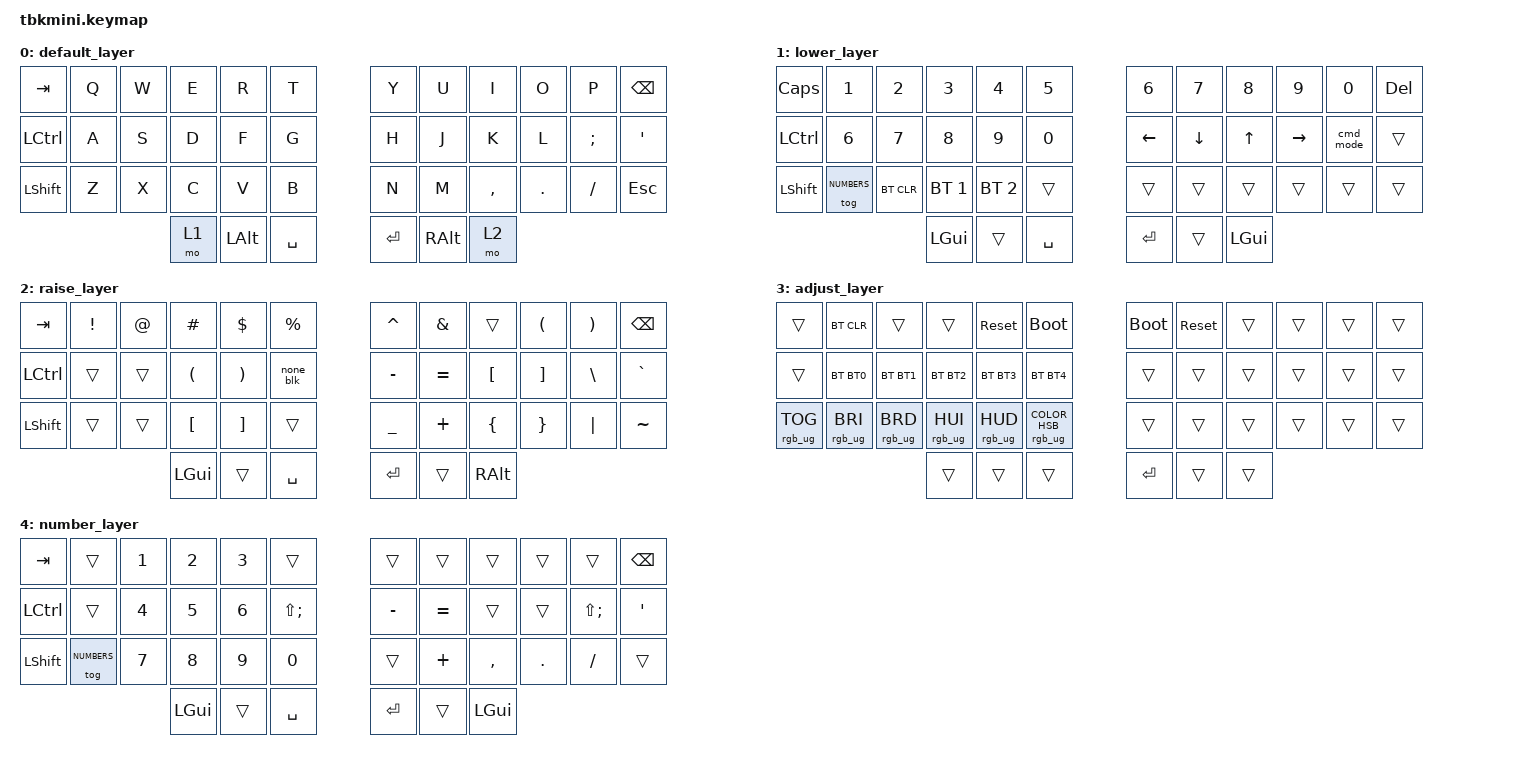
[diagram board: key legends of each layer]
/*
 * Copyright (c) 2020 The ZMK Contributors
 *
 * SPDX-License-Identifier: MIT
 */

#include <behaviors.dtsi>
#include <dt-bindings/zmk/bt.h>
#include <dt-bindings/zmk/keys.h>
#include <dt-bindings/zmk/rgb.h>

#define LOWER 1
#define RAISE 2
#define ADJUST 3
#define NUMBERS 4
#define BT0 BT_SEL 0
#define BT1 BT_SEL 1
#define BT2 BT_SEL 2
#define BT3 BT_SEL 3
#define BT4 BT_SEL 4

&mt { retro-tap; };

&sk {
    //release-after-ms = <2000>;

    quick-release;

    // /delete-property/ ignore-modifiers;
};

/ {
    conditional_layers {
        compatible = "zmk,conditional-layers";

        tri_layer {
            if-layers = <LOWER RAISE>;
            then-layer = <ADJUST>;
        };
    };

    combos {
        compatible = "zmk,combos";

        combo_caps {
            timeout-ms = <50>;
            key-positions = <24 35>;
            bindings = <&kp CAPSLOCK>;
        };

        combo_esc {
            timeout-ms = <50>;
            key-positions = <19 20>;
            bindings = <&kp ESC>;
        };
    };

    macros {
        none_blk: none_blk {
            label = "NON_BLOCKING";
            compatible = "zmk,behavior-macro";
            #binding-cells = <0>;
            bindings = <&macro_tap>, <&kp LS(COMMA) &kp EQUAL>;
        };

        cmd_mode: cmd_mode {
            label = "VIM_CMD_MODE";
            compatible = "zmk,behavior-macro";
            #binding-cells = <0>;
            bindings = <&macro_tap>, <&kp ESC &kp LS(SEMI)>;
        };
    };

    keymap {
        compatible = "zmk,keymap";

        default_layer {
            // -----------------------------------------------------------------------------------------
            // |  TAB |  Q  |  W  |  E  |  R  |  T  |   |  Y  |  U   |  I  |  O  |  P  | BKSP |
            // | CTRL |  A  |  S  |  D  |  F  |  G  |   |  H  |  J   |  K  |  L  |  ;  |  '   |
            // | SHFT |  Z  |  X  |  C  |  V  |  B  |   |  N  |  M   |  ,  |  .  |  /  | ESC  |
            //                    | GUI | LWR | SPC |   | ENT | RSE  | ALT |

            bindings = <
&kp TAB         &kp Q  &kp W  &kp E  &kp R         &kp T      &kp Y    &kp U          &kp I      &kp O    &kp P     &kp BSPC
&kp LCTRL       &kp A  &kp S  &kp D  &kp F         &kp G      &kp H    &kp J          &kp K      &kp L    &kp SEMI  &kp SQT
&kp LEFT_SHIFT  &kp Z  &kp X  &kp C  &kp V         &kp B      &kp N    &kp M          &kp COMMA  &kp DOT  &kp FSLH  &kp ESC
                              &mo 1  &kp LEFT_ALT  &kp SPACE  &kp RET  &kp RIGHT_ALT  &mo 2
            >;
        };

        lower_layer {
            // -----------------------------------------------------------------------------------------
            // |  TAB |  1  |  2  |  3  |  4  |  5  |   |  6  |  7  |  8  |  9  |  0  | BKSP |
            // | BTCLR| BT1 | BT2 | BT3 | BT4 | BT5 |   | LFT | DWN |  UP | RGT |     |      |
            // | SHFT |     |     |     |     |     |   |     |     |     |     |     |      |
            //                    | GUI |     | SPC |   | ENT |     | ALT |

            bindings = <
&kp CAPSLOCK  &kp N1        &kp N2      &kp N3        &kp N4        &kp N5     &kp N6    &kp N7    &kp N8    &kp N9     &kp N0     &kp DEL
&kp LCTRL     &kp N6        &kp N7      &kp N8        &kp N9        &kp N0     &kp LEFT  &kp DOWN  &kp UP    &kp RIGHT  &cmd_mode  &trans
&kp LSHFT     &tog NUMBERS  &bt BT_CLR  &bt BT_SEL 1  &bt BT_SEL 2  &trans     &trans    &trans    &trans    &trans     &trans     &trans
                                        &kp LGUI      &trans        &kp SPACE  &kp RET   &trans    &kp LGUI
            >;
        };

        raise_layer {
            // -----------------------------------------------------------------------------------------
            // |  TAB |  !  |  @  |  #  |  $  |  %  |   |  ^  |  &  |  *  |  (  |  )  | DEL  |
            // | CTRL |     |     |     |     |     |   |  -  |  =  |  [  |  ]  |  \  |  `   |
            // | SHFT |     |     |     |     |     |   |  _  |  +  |  {  |  }  | "|" |  ~   |
            //                    | GUI |     | SPC |   | ENT |     | ALT |

            bindings = <
&kp TAB    &kp EXCL  &kp AT  &kp HASH  &kp DLLR  &kp PRCNT  &kp CARET  &kp AMPS   &trans    &kp LPAR  &kp RPAR  &kp BSPC
&kp LCTRL  &trans    &trans  &kp LPAR  &kp RPAR  &none_blk  &kp MINUS  &kp EQUAL  &kp LBKT  &kp RBKT  &kp BSLH  &kp GRAVE
&kp LSHFT  &trans    &trans  &kp LBKT  &kp RBKT  &trans     &kp UNDER  &kp PLUS   &kp LBRC  &kp RBRC  &kp PIPE  &kp TILDE
                             &kp LGUI  &trans    &kp SPACE  &kp RET    &trans     &kp RALT
            >;
        };

        adjust_layer {
            bindings = <
&trans           &bt BT_CLR       &trans           &trans           &sys_reset       &bootloader                        &bootloader  &sys_reset  &trans  &trans  &trans  &trans
&trans           &bt BT0          &bt BT1          &bt BT2          &bt BT3          &bt BT4                            &trans       &trans      &trans  &trans  &trans  &trans
&rgb_ug RGB_TOG  &rgb_ug RGB_BRI  &rgb_ug RGB_BRD  &rgb_ug RGB_HUI  &rgb_ug RGB_HUD  &rgb_ug RGB_COLOR_HSB(128,100,10)  &trans       &trans      &trans  &trans  &trans  &trans
                                                   &trans           &trans           &trans                             &kp RET      &trans      &trans
            >;
        };

        number_layer {
            // -----------------------------------------------------------------------------------------
            // |  TAB |  1  |  2  |  3  |  4  |  5  |   |  6  |  7  |  8  |  9  |  0  | BKSP |
            // | BTCLR| BT1 | BT2 | BT3 | BT4 | BT5 |   | LFT | DWN |  UP | RGT |     |      |
            // | SHFT |     |     |     |     |     |   |     |     |     |     |     |      |
            //                    | GUI |     | SPC |   | ENT |     | ALT |

            bindings = <
&kp TAB    &trans        &kp N1  &kp N2    &kp N3  &trans        &trans     &trans     &trans     &trans   &trans        &kp BSPC
&kp LCTRL  &trans        &kp N4  &kp N5    &kp N6  &kp LS(SEMI)  &kp MINUS  &kp EQUAL  &trans     &trans   &kp LS(SEMI)  &kp SQT
&kp LSHFT  &tog NUMBERS  &kp N7  &kp N8    &kp N9  &kp N0        &trans     &kp PLUS   &kp COMMA  &kp DOT  &kp FSLH      &trans
                                 &kp LGUI  &trans  &kp SPACE     &kp RET    &trans     &kp LGUI
            >;
        };
    };
};
